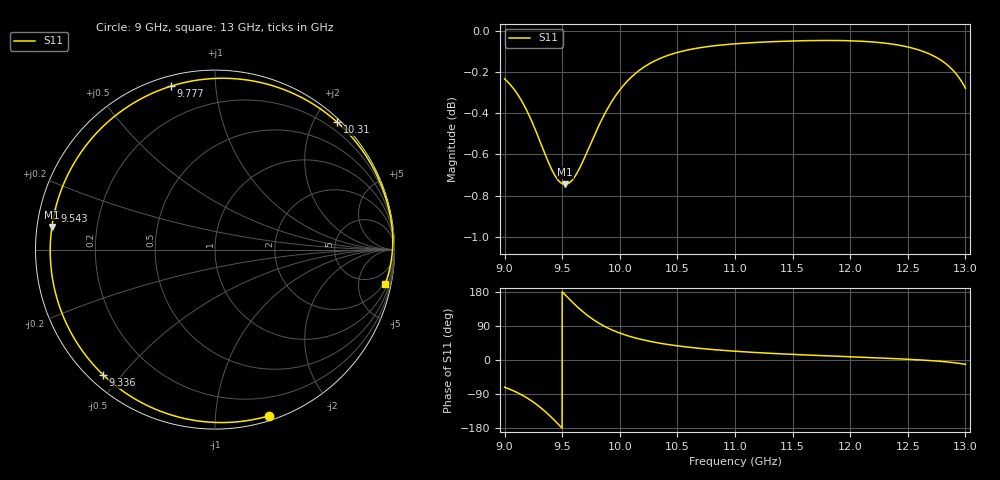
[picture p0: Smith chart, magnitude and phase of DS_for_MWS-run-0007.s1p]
! TOUCHSTONE file generated by CST DESIGN STUDIO
! Date and time: Tue Feb  4 15:57:24 2025
! Project name: C:\Work\MatlabApps\UnitCellOptimizationMatlab\CST\unitcell.cst
! Tree item: Tasks\Sweep1\SPara1\S-Parameters
! Header version: 2024
! Port assignment regex: !\s*Touchstone port\s*([0-9]+)\s*=\s*(CST MWS port|CST DES external port|CST DES block port)\s*(.+)\s* \(\"(.*)\"\)(\s*mode\s*([0-9]+))?.*
! Touchstone port assignment:
! Touchstone port 1 = CST DES external port 1 ("")
# GHz S MA R 50
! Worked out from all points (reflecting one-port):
!   4001 points, 9 GHz to 13 GHz, reference 50 ohm
!   lowest |S11| = -0.7 dB at 9.525 GHz (marker M1), VSWR 23.31, Z = 2.16 + j3.45 ohm
!   phase of S11 starts at -72 deg and turns -300 deg over the sweep
!   S11 on the Smith chart (normalised r, x): 9 GHz: 0.04, -1.38; 9.336 GHz: 0.04, -0.45; 9.543 GHz: 0.04, +0.12; 9.777 GHz: 0.05, +0.76; 10.31 GHz: 0.05, +2.35; 13 GHz: 1.57, -9.72
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9  0.9736 -71.8
9.091  0.9672 -83.3
9.196  0.9561 -100.4
9.269  0.9459 -115.4
9.336  0.9357 -131.7
9.379  0.9294 -143.4
9.425  0.9236 -156.9
9.463  0.92 -168.5
9.5  0.9181 179.9
9.525  0.9177 172.1
9.543  0.9179 166.5
9.597  0.9207 150.1
9.661  0.9273 132.2
9.717  0.9347 118.2
9.777  0.943 105.1
9.873  0.9552 88.0
9.936  0.9619 78.9
10  0.9676 71.1
10.144  0.977 57.5
10.314  0.9838 46.1
10.5  0.9881 37.4
10.721  0.991 29.9
11  0.9929 23.1
11.5  0.9945 14.8
12  0.9946 8.5
12.5  0.9911 2.0
12.794  0.9836 -3.8
13  0.9685 -11.4
